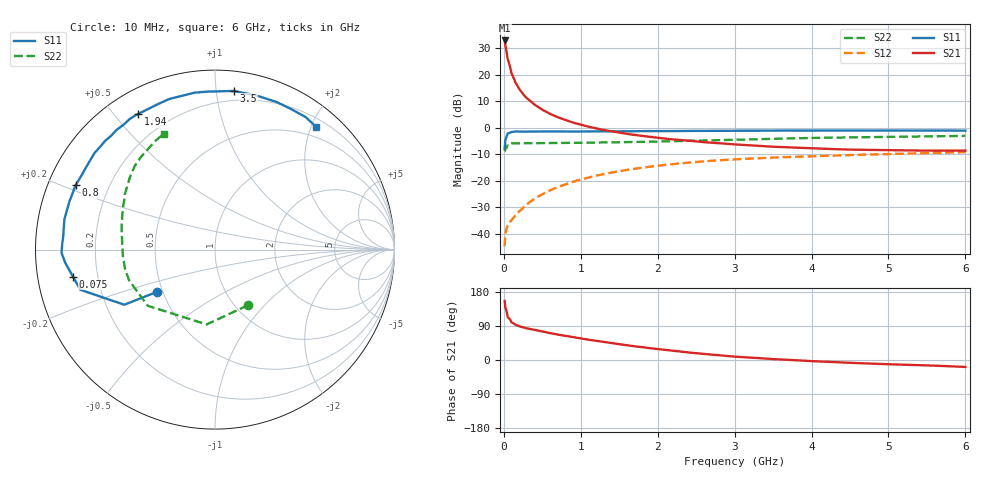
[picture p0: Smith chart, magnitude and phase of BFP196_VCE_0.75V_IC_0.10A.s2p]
! Infineon Technologies  Discrete & RF Semiconductors
! BFP196
! VCE = 0.75V,  IC = 0.10A
! Common Emitter S-Parameters:  Jan 2016
# GHz  S  MA  R  50
!  f  S11  S21  S12  S22
! GHz  MAG  ANG  MAG  ANG  MAG  ANG  MAG  ANG
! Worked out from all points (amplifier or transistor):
!   210 points, 10 MHz to 6 GHz, reference 50 ohm
!   highest |S21| = 32.9 dB at 10 MHz (marker M1)
!   |S21| within 3 dB of that: start of sweep to 27.72 MHz
!   unconditionally stable (mu >= 1): start of sweep to 16.93 MHz; 156.1 MHz to end of sweep
!   at 185 MHz: K = 1.07, MAG = 22.1 dB, |S12| = -31.9 dB
!   at 1.52 GHz: K = 1.23, MAG = 4.3 dB, |S12| = -16.2 dB
!   at 6 GHz: K = 1.09, MAG = -1.6 dB, |S12| = -9.2 dB
!   S11 on the Smith chart (normalised r, x): 10 MHz: 0.46, -0.26; 75 MHz: 0.11, -0.09; 800 MHz: 0.08, +0.22; 1.94 GHz: 0.09, +0.58; 3.5 GHz: 0.13, +1.12; 6 GHz: 0.33, +2.08
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0.01  0.4004 -143.9  44.29 155.9  0.0059 58.6  0.3605 -59.5
0.02  0.5915 -148.7  35.88 137.9  0.0103 51.1  0.4194 -96.4
0.05  0.7831 -163.4  19.92 113.0  0.0146 41.2  0.4881 -140.1
0.075  0.8057 -169.2  15.16 108.3  0.0164 44.1  0.4907 -150.4
0.1  0.8361 -174.6  10.59 99.3  0.0183 46.4  0.5085 -160.2
0.15  0.8551 -178.7  7.172 93.2  0.0224 51.7  0.5125 -167.5
0.2  0.8518 177.7  5.399 88.9  0.0267 56.9  0.5126 -171.4
0.26  0.8488 174.7  4.155 85.6  0.0323 59.7  0.5139 -174.5
0.3  0.8503 173.1  3.596 83.5  0.0364 61.6  0.5143 -175.9
0.4  0.8558 168.6  2.728 79.2  0.0462 64.3  0.5149 -178.6
0.5  0.8541 165.5  2.196 75.3  0.0561 65.4  0.5162 179.4
0.6  0.8542 161.7  1.834 71.0  0.0664 65.3  0.5169 177.8
0.8  0.8554 155.1  1.401 63.8  0.0861 63.7  0.5201 175.0
1.02  0.8524 147.2  1.125 56.4  0.1081 60.8  0.524 172.1
1.4  0.8615 135.3  0.856 44.8  0.1437 55.0  0.533 167.3
1.94  0.8689 119.6  0.666 30.3  0.189 45.6  0.549 160.5
2.02  0.8678 117.5  0.645 28.5  0.1948 44.1  0.552 159.4
3.1  0.881 90.9  0.478 7.6  0.2593 26.2  0.6006 144.9
3.5  0.8903 83.2  0.441 2.4  0.2764 20.3  0.6218 139.8
4.1  0.8881 73.2  0.406 -3.9  0.2952 12.5  0.649 132.6
5.1  0.8905 60.2  0.378 -11.8  0.3241 1.2  0.6775 122.4
6  0.8857 50.4  0.374 -18.3  0.3483 -8.9  0.7059 113.7
